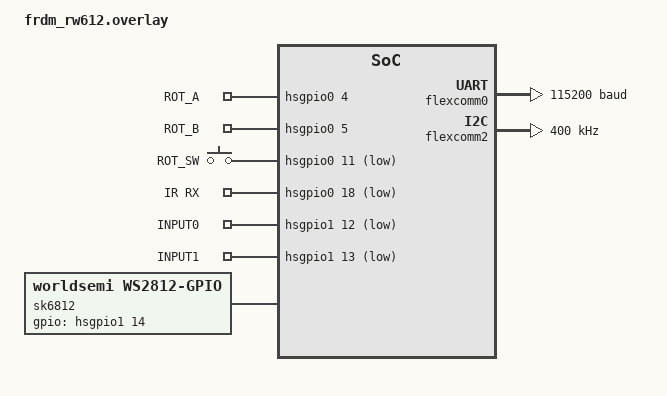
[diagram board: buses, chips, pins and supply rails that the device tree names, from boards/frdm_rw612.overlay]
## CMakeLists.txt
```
# Copyright 2026 zCube
# SPDX-License-Identifier: Apache-2.0
#
# Zephyr application build for frdm_rw612_blank.

cmake_minimum_required(VERSION 3.20.0)

find_package(Zephyr REQUIRED HINTS $ENV{ZEPHYR_BASE})
project(frdm_rw612_blank LANGUAGES C ASM)

# CMake on a Windows host injects MinGW import libs (kernel32, user32, ...)
# into CMAKE_*_STANDARD_LIBRARIES, and mbedtls/tf-psa-crypto pulls
# ws2_32 / bcrypt into its PUBLIC link interface for the host PSA RNG
# provider. None of these exist for the arm-zephyr-eabi cross toolchain.
# Strip just those host libs but keep the rest of the link interface intact
# so the cross-build still pulls in libtfpsacrypto.a / libmbedtls.a.
if(CMAKE_HOST_WIN32)
    set(CMAKE_C_STANDARD_LIBRARIES   "" CACHE STRING "" FORCE)
    set(CMAKE_CXX_STANDARD_LIBRARIES "" CACHE STRING "" FORCE)
    set(_host_only_libs
        ws2_32 bcrypt kernel32 user32 gdi32 winspool
        shell32 ole32 oleaut32 uuid comdlg32 advapi32)
    foreach(_t IN ITEMS tfpsacrypto mbedtls mbedx509)
        if(TARGET ${_t})
            get_target_property(_libs ${_t} INTERFACE_LINK_LIBRARIES)
            if(_libs)
                list(REMOVE_ITEM _libs ${_host_only_libs})
                set_target_properties(${_t}
                    PROPERTIES INTERFACE_LINK_LIBRARIES "${_libs}")
            endif()
        endif()
    endforeach()
endif()

target_include_directories(app PRIVATE
  app
  app/matter
  app/audio
  app/ble
  app/ble/gatt_servers
  app/ir
  app/leds
  app/nvm
  app/ota
  app/radar
  app/rotary_enc
  app/sensors
  app/tcp
  app/wifi
)

target_sources(app PRIVATE
  src/main.c

  app/app_main_zephyr.c
  app/i2c_bus.c

  app/matter/matter_hub_core.c
  app/matter/matter_prefs.c

  app/audio/audio_player.c
  app/audio/es8388.c

  app/ble/gatt_servers/svc_ctrl.c
  app/ble/gatt_servers/svc_ir.c
  app/ble/gatt_servers/svc_led.c
  app/ble/gatt_servers/svc_matter.c
  app/ble/gatt_servers/svc_prov.c
  app/ble/gatt_servers/svc_status.c

  app/ir/ir_aircon.c
  app/ir/ir_codec_samsung_ac.c
  app/ir/ir_decode.c
  app/ir/ir_rx_nxp_gpio_ctimer.c
  app/ir/ir_tx_zephyr.c

  app/leds/led_strip_zephyr.c
  app/leds/led_task_zephyr.c

  app/nvm/app_nvram.c
  app/nvm/nvs_backend.c

  app/ota/app_ota.c
  app/ota/app_ota_http.c

  app/radar/app_radar_zephyr.c

  app/rotary_enc/rotary_enc.c

  app/sensors/amg8833.c
  app/sensors/amg8833_task.c
  app/sensors/bh1750.c
  app/sensors/bh1750_io_nxp_i2c.c
  app/sensors/lux_task.c
  app/sensors/mlx90640.c
  app/sensors/mlx90640_task.c

  app/tcp/app_tcp_client.c
  app/tcp/app_tcp_server.c

  app/wifi/app_wifi.c
)

# Intentionally excluded:
#   app/ir/ir_tx_nxp_ctimer.c
#   app/leds/sk6812.c
#   app/leds/sk6812_io_nxp_spi.c
#   app/multitask_init.c
#   app/ble/gatt_client/ble_central.c
#   app/ble/zephyr_bt_rand_shim.c

# ── OpenThread RCP host 링크 순서 보정 ──────────────────────────────────────
# Zephyr OT glue(zephyr/modules/openthread/CMakeLists.txt)는 ot_libs 에
# openthread-ftd 를 radio-spinel 보다 *먼저* 나열하고 --start-group 으로 묶지
# 않는다. radio_spinel.cpp 가 참조하는 otThreadErrorToString 은 ftd 아카이브의
# error_api.cpp 에만 있는데, ftd 가 링크 라인 앞쪽이라 그 시점엔 끌려오지 않아
# 뒤의 radio-spinel 에서 undefined reference 가 난다.
#
# 타겟 이름(openthread-ftd)으로 재추가하면 CMake 가 중복 제거(dedup)해 원래
# 위치에 머물러 효과가 없다. 따라서 두 아카이브의 *파일 경로*를 링크 끝에 한
# 번 더, --start-group/--end-group 으로 묶어 주입한다. 이 후행 그룹은 앞쪽에서
# 끌려오지 않은 객체까지 상호참조를 완전히 해소한다.
if(CONFIG_HDLC_RCP_IF AND CONFIG_OPENTHREAD_FTD)
  zephyr_link_libraries(
    -Wl,--start-group
    "$<TARGET_FILE:openthread-ftd>"
    "$<TARGET_FILE:openthread-radio-spinel>"
    -Wl,--end-group)
endif()
```

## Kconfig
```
# Copyright 2026 zCube
# SPDX-License-Identifier: Apache-2.0

mainmenu "zCube FRDM-RW612 Application"

config APP_LED_APA102
	bool "Use APA102 LED strip instead of SK6812"
	default n
	help
	  Select APA102 (GPIO47=DATA, GPIO48=CLK) instead of the default
	  SK6812 RGBW (GPIO46=DATA single-wire NRZ).

config APP_SENSORS_ENABLE
	bool "Enable I2C sensors (BH1750 + thermal array)"
	default n
	help
	  BH1750 조도 센서(0x23)와 열화상 센서(AMG8833 0x69 또는 MLX90640 0x33)를
	  활성화한다. 열화상 센서는 아래 'Thermal array sensor'에서 택1.
	  FC2 I2C 버스(GPIO16=SDA, GPIO17=SCL)에 물리적으로 연결된 경우에만 y로 설정.
	  미연결 상태에서 활성화해도 각 태스크가 probe 실패 시 스스로 정지한다.

choice
	prompt "Thermal array sensor"
	depends on APP_SENSORS_ENABLE
	default APP_THERMAL_AMG8833
	help
	  FC2 I2C 버스에 연결된 열화상 센서를 택1. 둘은 버스를 공유하므로
	  동시 사용은 하지 않고 선택된 하나만 태스크를 시작한다.

config APP_THERMAL_AMG8833
	bool "AMG8833 (8x8, addr 0x69)"
	help
	  Panasonic AMG8833 Grid-EYE 8x8 열화상 (0x69).

config APP_THERMAL_MLX90640
	bool "MLX90640 (32x24, addr 0x33)"
	help
	  Melexis MLX90640 32x24 열화상 (0x33). 보정 연산으로 픽셀별 °C 산출.

config APP_THERMAL_NONE
	bool "None (BH1750 only)"
	help
	  열화상 센서를 시작하지 않고 BH1750 조도 센서만 사용한다.

endchoice

config APP_MATTER_THREAD_AUTOSTART
	bool "Auto-start Thread (openthread_run) in matter_hub_init"
	depends on NET_L2_OPENTHREAD
	default y
	help
	  matter_hub_init() 에서 openthread_run() 을 호출해 Thread 네트워크를
	  기동(form/join)한다. n 으로 두면 OpenThread 인스턴스/RCP 는 SYS_INIT 에서
	  초기화되지만(15.4 라디오는 idle) 네트워크는 올라오지 않는다.
	  WiFi/15.4 coexistence 격리 진단용: n 으로 빌드해 WiFi 연결이 회복되면
	  15.4 활성 트래픽이 원인임을 확인할 수 있다.

config APP_AUDIO_ES8388
	bool "Enable ES8388 audio codec (I2C volume/mute control)"
	default n
	help
	  ES8388 오디오 코덱을 FC2 I2C(GPIO16=SDA, GPIO17=SCL, addr=0x10)로 초기화한다.
	  볼륨·뮤트 제어만 수행하며, 오디오 재생은 ESP32-A1S가 담당한다.
	  미연결 상태에서 활성화 시 I2C 초기화 실패(ENODEV)가 발생할 수 있다.

source "Kconfig.zephyr"
```

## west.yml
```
manifest:
  remotes:
    - name: zephyrproject-rtos
      url-base: https://github.com/zephyrproject-rtos

  projects:
    - name: zephyr
      remote: zephyrproject-rtos
      revision: main
      import:
        name-allowlist:
          - cmsis
          - cmsis_6
          - hal_nxp
          - mbedtls
          - tf-psa-crypto
          - libsbc
          - mcuboot
          # Matter hub용 Thread: OpenThread 라이브러리 소스.
          # 추가 후 반드시 `west update` 로 modules/lib/openthread 를 fetch.
          - openthread
```

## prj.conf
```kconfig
CONFIG_BT=y
CONFIG_BT_PERIPHERAL=y
CONFIG_ENTROPY_GENERATOR=y
CONFIG_BT_DEVICE_NAME="zCubeTarget"

# CSPRNG: use hardware TRNG directly so the PSA crypto provider
# (random_psa.c -> psa/crypto.h, plus host-only -lws2_32/-lbcrypt deps from
# tf-psa-crypto) is not pulled into the cross build.
CONFIG_HARDWARE_DEVICE_CS_GENERATOR=y


# CONFIG_BUILD_ONLY_NO_BLOBS was removed: it caused rw61x_cpu2_fw.bin.inc to be 0 bytes,
# preventing BLE radio initialization entirely.
CONFIG_BT_SHELL=n

# Radar UART: DMA async (FC0, DMA0 채널 0/1)
CONFIG_UART_ASYNC_API=y
CONFIG_DMA=y

# NVS (Non-Volatile Storage) — replaces NXP mflash file API
CONFIG_FLASH_MAP=y
CONFIG_NVS=y
# Auto-erase NVS partition if flash contains non-NVS data (e.g. factory firmware)
CONFIG_NVS_INIT_BAD_MEMORY_REGION=y

# I2C for sensors (BH1750, AMG8833)
CONFIG_I2C=y

# Networking (Zephyr native sockets)
CONFIG_NETWORKING=y
CONFIG_NET_SOCKETS=y
CONFIG_NET_TCP=y
CONFIG_NET_IPV4=y
CONFIG_NET_DHCPV4=y

# WiFi support — RW612 NXP driver
CONFIG_WIFI=y
CONFIG_WIFI_NXP=y
CONFIG_NXP_RW610=y
CONFIG_ETH_DRIVER=n

# NXP WiFi + BT Classic A2DP 버퍼/펌웨어 로딩에 큰 힙이 필요
CONFIG_HEAP_MEM_POOL_SIZE=204800

# WiFi mgmt 이벤트 큐/스택 (부족하면 CONNECT_RESULT 이벤트 유실)
CONFIG_NET_MGMT_EVENT_QUEUE_SIZE=16
CONFIG_NET_MGMT_EVENT_QUEUE_TIMEOUT=5000
CONFIG_NET_MGMT_EVENT_STACK_SIZE=4608

# 네트워크 버퍼
# OTA 다운로드 막판 정지 원인: TCP 수신 윈도우 자동산출값이 너무 작음.
#   auto = (NET_BUF_RX_COUNT * NET_BUF_DATA_SIZE) / 3 = (20*128)/3 ≈ 853 B
# 853 B는 WiFi MSS(~1460 B)보다 작아 Silly Window Syndrome / flow-control 정지를
# 유발. 윈도우를 8 KB로 고정하고 RX 버퍼를 늘려 느린 flash 소비 중에도 세그먼트를
# 흡수하도록 한다.
# 버퍼 한 개를 256 B로 키워(기본 128) 윈도우를 채우는 데 필요한 net_buf 개수를 줄인다.
# OTA 막판 99% 정지의 핵심: 서버(파이썬 HTTP/1.0)가 응답 끝에서 마지막 ~8 KB를 한 번에
# 보내며 close하는데, 수신 윈도우(8192)가 그 버스트로 정확히 0까지 차면 window-update가
# 안 나가 tail zero-window 교착 → recv 영구 블록. 윈도우를 16 KB로 올려 마지막 버스트가
# 와도 0에 닿지 않게 하고, 버퍼는 윈도우(64개분)의 2배(128)로 여유를 둔다.
CONFIG_NET_BUF_DATA_SIZE=256
CONFIG_NET_PKT_RX_COUNT=32
CONFIG_NET_PKT_TX_COUNT=10
CONFIG_NET_BUF_RX_COUNT=128
CONFIG_NET_BUF_TX_COUNT=20
CONFIG_NET_MAX_CONTEXTS=10
CONFIG_NET_TCP_MAX_RECV_WINDOW_SIZE=16384

# ── Matter hub용 Thread (OpenThread RCP host) ──────────────────────────────
# RW612 온칩 802.15.4 라디오는 NBU(companion controller)에서 RCP 펌웨어로 동작하고,
# M33 호스트가 내부 HDLC 인터페이스로 OpenThread 풀스택을 구동한다. DT 매핑은 SoC
# dtsi에 이미 존재(chosen zephyr,hdlc-rcp-if = &hdlc_rcp_if). BT/WiFi가 이미 켜져
# 있어 monolithic NBU 콤보 펌웨어(BLE+WiFi+15.4)·IMU·FW_LOADER 경로는 이미 활성.
# 선행: west.yml에 openthread 추가 + `west update` (modules/lib/openthread fetch).
CONFIG_NET_L2_OPENTHREAD=y
CONFIG_OPENTHREAD_SOURCES=y
# 허브/라우터 역할(리더·라우터 승격 가능) → Full Thread Device
CONFIG_OPENTHREAD_FTD=y
# 내부 HDLC RCP 호스트 인터페이스 + NBU RF/펌웨어 로더
CONFIG_HDLC_RCP_IF=y
CONFIG_NXP_RF_IMU=y
CONFIG_NXP_FW_LOADER=y
# WiFi 부팅을 방해하지 않도록 자동 기동 끄고, matter_hub_init()에서 openthread_run()으로 직접 기동
CONFIG_OPENTHREAD_MANUAL_START=y
CONFIG_OPENTHREAD_RCP_RESTORATION_MAX_COUNT=10
# radio_spinel.cpp / hdlc_interface.cpp 는 C++
CONFIG_CPP=y
# OpenThread 데이터셋 영속화(이미 NVS 사용 중)
CONFIG_SETTINGS=y
# OpenThread 크립토용 PSA RNG (frdm_rw612 OT 레퍼런스 동일)
CONFIG_MBEDTLS_PSA_CRYPTO_LEGACY_RNG=y
# mbedtls 정적 버퍼 할당기 힙. OT_CRYPTO_PSA 기본값 1024는 런타임에 부족해
# psa_cipher_encrypt(AES-ECB)가 PSA_ERROR_INSUFFICIENT_MEMORY(-141)로 실패하며
# aes_ecb.cpp 에서 ASSERT(멈춤)가 났다(검증됨). OT MAC AES-CCM + 동시 할당
# 여유를 위해 8 KB로 상향(정적 BSS, RAM 여유 충분).
CONFIG_MBEDTLS_HEAP_SIZE=8192

# OT 스레드 스택. 기본 3072는 mbedtls *소프트웨어* AES-CCM/PSA crypto 호출
# 깊이에 부족 → 스택 오버플로로 인접 메모리 파손, 시스템 전체 정지(검증됨:
# AES-ECB 통과 후 BH1750 단계에서 완전 멈춤). 8 KB로 상향.
CONFIG_OPENTHREAD_THREAD_STACK_SIZE=8192
# spinel 라디오 RX 워크큐 스택. 기본 512는 프레임 처리/콜백에 빠듯 → 2 KB.
CONFIG_OPENTHREAD_RADIO_WORKQUEUE_STACK_SIZE=2048

# Build output formats
CONFIG_BUILD_OUTPUT_HEX=y
CONFIG_BUILD_OUTPUT_BIN=y

# OTA secondary-slot write buffer
CONFIG_IMG_BLOCK_BUF_SIZE=1024
CONFIG_STREAM_FLASH=y

# MCUboot 연동: 앱을 slot0(image-0) 서명 이미지로 빌드하고, OTA commit 시
# boot_request_upgrade()로 slot1(image-1)을 다음 부팅에 swap 요청한다.
# 필수 선행: west.yml에 mcuboot 추가 + `west update`(모듈 fetch) + 0x0에 부트로더 플래시.
# 이 설정을 켜면 앱은 slot0(0x20000)용으로 빌드되어 0x0 부트로더 없이는 단독 부팅 불가.
CONFIG_BOOTLOADER_MCUBOOT=y
CONFIG_IMG_MANAGER=y
# 앱 이미지를 부트로더와 동일한 기본 키(root-rsa-2048.pem)로 서명한다.
# 이게 있어야 빌드가 zephyr.signed.{hex,bin}을 생성하고, MCUboot가 slot0/slot1을 검증·부팅한다.
CONFIG_MCUBOOT_SIGNATURE_KEY_FILE="C:/work/New_zCube/rw612_zephyr/bootloader/mcuboot/root-rsa-2048.pem"


# IR TX: SCTimer PWM 캐리어 (38 kHz, SCT_OUT5 = GPIO27)
CONFIG_PWM=y

# SK6812 RGBW LED strip (ws2812-gpio single-wire bit-bang on GPIO46)
CONFIG_LED_STRIP=y
# APA102 선택 시 주석 해제 → GPIO47(DATA), GPIO48(CLK) 로 전환
# CONFIG_APP_LED_APA102=y

# Logging Configuration
CONFIG_LOG=y
CONFIG_LOG_BACKEND_SHOW_COLOR=n
# OTA가 실행 중인 FlexSPI flash(slot1)에 기록할 때, deferred 로깅 경로에서는
# 시스템 전체가 hang(radar/IR 포함 전부 정지)한다. immediate(동기) 로그로 전환하면
# OTA가 100% 완주한다(검증됨). 따라서 deferred 전용 옵션은 비활성.
# CONFIG_LOG_BUFFER_SIZE=8192
# CONFIG_LOG_PROCESS_THREAD_SLEEP_MS=10
CONFIG_LOG_MODE_IMMEDIATE=y
CONFIG_LOG_PRINTK=n
CONFIG_REBOOT=y
CONFIG_EXCEPTION_DEBUG=y
CONFIG_EXTRA_EXCEPTION_INFO=y
CONFIG_ASSERT=y

# Multitasking Configuration
CONFIG_MULTITHREADING=y
CONFIG_TIMESLICING=y
CONFIG_TIMESLICE_SIZE=10

# Stack sizes — debug 빌드는 -O0/-Og 로 인해 release 대비 2~3× 더 필요
# 0xDEAD (스택 오버플로우) 방지를 위해 증가
CONFIG_MAIN_STACK_SIZE=16384
CONFIG_IDLE_STACK_SIZE=2048
CONFIG_NET_TX_STACK_SIZE=8192
CONFIG_NET_RX_STACK_SIZE=8192
CONFIG_NET_TCP_WORKQ_STACK_SIZE=8192
CONFIG_SYSTEM_WORKQUEUE_STACK_SIZE=32768
CONFIG_BT_RX_STACK_SIZE=32768


# Audio: ES8388 I2C 볼륨/뮤트 제어 전용 (I2S 미사용 — 오디오 재생은 ESP32-A1S 담당)
# A2DP 불가: Zephyr hal_nxp에 BT Classic 펌웨어 블롭 없음 (BLE 전용만 제공)
CONFIG_BT_MAX_CONN=4
CONFIG_BT_LONG_WQ_STACK_SIZE=8192

# I2C 센서 활성화: BH1750 + 열화상 센서 물리 연결 후 y로 변경
CONFIG_APP_SENSORS_ENABLE=y
# 열화상 센서 택1 (둘 중 하나만):
# CONFIG_APP_THERMAL_AMG8833=y
CONFIG_APP_THERMAL_MLX90640=y
# CONFIG_APP_THERMAL_NONE=y

# I2C 전송 타임아웃 (ms). 기본값 0 = 무한 대기 → 하드웨어 없을 때 영구 hang.
# 100 ms = 400 kHz I2C 정상 전송보다 충분히 크고, hang 대기보다 훨씬 짧음.
CONFIG_I2C_NXP_TRANSFER_TIMEOUT=100

# ES8388 오디오 코덱 활성화: FC2 I2C(GPIO16/17, addr=0x10) 물리 연결 후 y로 변경
# CONFIG_APP_AUDIO_ES8388=y

# Thread Options
CONFIG_THREAD_NAME=y
CONFIG_THREAD_STACK_INFO=y
CONFIG_THREAD_MONITOR=y
CONFIG_INIT_STACKS=y
```

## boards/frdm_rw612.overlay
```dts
/*
 * Copyright 2026 zCube
 * SPDX-License-Identifier: BSD-3-Clause
 *
 * zCube FRDM-RW612 pin assignments:
 *
 *  GPIO2  (HSGPIO0[2])  FC0 USART TX  → Radar UART
 *  GPIO3  (HSGPIO0[3])  FC0 USART RX  → Radar UART
 *  GPIO4  (HSGPIO0[4])  GPIO INPUT    → EC16 ROT_A (쿼드러처 A상)
 *  GPIO5  (HSGPIO0[5])  GPIO INPUT    → EC16 ROT_B (쿼드러처 B상)
 *  GPIO11 (HSGPIO0[11]) GPIO INPUT    → EC16 ROT_SW (push-button, pull-up, falling edge)
 *  GPIO16 (HSGPIO0[16]) FC2 I2C SDA   → BH1750, AMG8833, ES8388(볼륨)
 *  GPIO17 (HSGPIO0[17]) FC2 I2C SCL   → BH1750, AMG8833, ES8388
 *  GPIO18 (HSGPIO0[18]) GPIO INPUT    → IR 수신 (demod output, active-low)
 *  GPIO27 (HSGPIO0[27]) SCT_OUT5      → IR 송신 캐리어 38 kHz
 *  GPIO44 (HSGPIO1[12]) GPIO INPUT    → INPUT0 (pull-up, falling edge IRQ)
 *  GPIO45 (HSGPIO1[13]) GPIO INPUT    → INPUT1 (pull-up, falling edge IRQ)
 *  GPIO46 (HSGPIO1[14]) GPIO OUTPUT   → SK6812 DATA (단선 NRZ, 기본)
 *  GPIO47 (HSGPIO1[15]) GPIO OUTPUT   → APA102 DATA (CONFIG_APP_LED_APA102)
 *  GPIO48 (HSGPIO1[16]) GPIO OUTPUT   → APA102 CLK  (CONFIG_APP_LED_APA102)
 *
 * GPIO44-49: LCDIC 비활성화 → GPIO로 재사용
 *   44=INPUT0, 45=INPUT1, 46=SK6812 DATA, 47=APA102 DATA, 48=APA102 CLK
 */

#include <zephyr/dt-bindings/led/led.h>

&pinctrl {
	/* Radar UART: FC0 GPIO2(TX) / GPIO3(RX) */
	pinmux_fc0_radar: pinmux_fc0_radar {
		group0 {
			pinmux = <IO_MUX_FC0_USART_DATA>;
			slew-rate = "normal";
		};
	};

	/* IR TX: GPIO27 → SCT_OUT5 (38 kHz 캐리어)
	 * GPIO26(SCT_OUT4)은 FC3 USART(콘솔)와 충돌 → GPIO27(SCT_OUT5) 사용 */
	pinmux_ir_tx: pinmux_ir_tx {
		group0 {
			pinmux = <IO_MUX_SCT_OUT_5>;
			slew-rate = "fast";
		};
	};

	/* GPIO46 (HSGPIO1[14]) → SK6812 단선 데이터 출력 */
	pinmux_hsgpio1: pinmux_hsgpio1 {
		group1 {
			pinmux = <IO_MUX_GPIO46>;
			slew-rate = "fast";
		};
	};

};

/* LCDIC 비활성화: GPIO44-49를 LCD SPI 모드에서 해제 */
&lcdic {
	status = "disabled";
};

/* Radar UART: FC0 — DMA async (채널 0=RX, 1=TX) */
&flexcomm0 {
	compatible = "nxp,lpc-usart";
	status = "okay";
	current-speed = <115200>;
	pinctrl-0 = <&pinmux_fc0_radar>;
	pinctrl-names = "default";
	dmas = <&dma0 0>, <&dma0 1>;
	dma-names = "rx", "tx";
};

/* FC1 I2S 제거 — 오디오 재생은 ESP32-A1S 담당, RW612는 ES8388 I2C 제어만 수행 */

/* Sensor & Audio Codec I2C: FC2 — GPIO16(SDA), GPIO17(SCL)
 * 연결 디바이스: BH1750(0x23), AMG8833(0x69), ES8388(0x10) */
&flexcomm2 {
	compatible = "nxp,lpc-i2c";
	status = "okay";
	clock-frequency = <400000>;  /* Fast Mode 400 kHz */
	pinctrl-0 = <&pinmux_flexcomm2_i2c>;
	pinctrl-names = "default";
	#address-cells = <1>;
	#size-cells = <0>;
	/* I2C IRQ 우선순위 0(최고)→3. RW612 무선 코프로세서가 상위 우선순위를
	 * 쓰므로, I2C 완료 ISR이 라디오 임계구간을 선점하지 않도록 방어적으로 낮춘다.
	 * (IRQ 16 = FlexComm2. 멈춤의 직접 원인은 아니었지만 상시 유지 권장) */
	interrupts = <16 3>;
};

/* GPIO 핀 인터럽트(PINT) 우선순위 상향: 2 → 1.
 * A/B 로터리 엣지와 IR RX(TSDP341, GPIO18) 엣지 캡처가 WiFi/BLE ISR 지연으로
 * 타이밍이 흔들려 Samsung AC 프레임이 깨지는 것을 줄인다. ISR 자체가 매우
 * 짧아(타임스탬프 1회) 무선에 주는 영향은 작다. 0(최고)은 무선과 충돌 위험이라
 * 한 단계만 올림. (IRQ 4-7,35-38 = PINT 8 라인) */
&pint {
	interrupts = <4 1>, <5 1>, <6 1>, <7 1>,
		     <35 1>, <36 1>, <37 1>, <38 1>;
};

/* SCTimer: IR TX 캐리어용 SCT_OUT5(GPIO27) 사용
 * (GPIO26=SCT_OUT4는 FC3 UART TX와 충돌) */
&sctimer {
	pinctrl-0 = <&pinmux_ir_tx>;
};

/ {
	aliases {
		ir-rx      = &ir_rx_pin;
		led-strip  = &sk6812;
		radar-uart = &flexcomm0;
		rot-a      = &rot_enc_a;
		rot-b      = &rot_enc_b;
		rot-sw     = &rot_enc_sw;
		input-0    = &gpio_input0;
		input-1    = &gpio_input1;
	};

	/* EC16 로터리 인코더: GPIO4=ROT_A, GPIO5=ROT_B, GPIO11=ROT_SW
	 * 내부 풀업 사용; A/B ANY_EDGE, SW falling edge 인터럽트 */
	rot_enc_dev: rotary-enc {
		compatible = "gpio-keys";
		rot_enc_a: rot_enc_a {
			gpios = <&hsgpio0 4 (GPIO_ACTIVE_HIGH | GPIO_PULL_UP)>;
			label = "ROT_A";
		};
		rot_enc_b: rot_enc_b {
			gpios = <&hsgpio0 5 (GPIO_ACTIVE_HIGH | GPIO_PULL_UP)>;
			label = "ROT_B";
		};
		rot_enc_sw: rot_enc_sw {
			gpios = <&hsgpio0 11 (GPIO_ACTIVE_LOW | GPIO_PULL_UP)>;
			label = "ROT_SW";
		};
	};

	/* IR 수신: GPIO18 = HSGPIO0[18]
	 * 일반 IR 수신 모듈 출력은 active-low (신호 수신 시 LOW) */
	ir_rx_dev: ir-rx {
		compatible = "gpio-keys";
		ir_rx_pin: ir_rx_pin {
			gpios = <&hsgpio0 18 (GPIO_ACTIVE_LOW | GPIO_PULL_UP)>;
			label = "IR RX";
		};
	};

	/* 범용 GPIO 입력 2채널: GPIO44/GPIO45 (HSGPIO1[12], HSGPIO1[13])
	 * 내부 풀업 — 평상시 HIGH, 신호 인가 시 LOW (falling edge 트리거)
	 * 인터럽트 트리거: GPIO_INT_EDGE_FALLING (애플리케이션에서 설정)
	 * LCDIC 비활성화 구간 재사용 */
	gpio_inputs: gpio-inputs {
		compatible = "gpio-keys";
		gpio_input0: gpio_input0 {
			gpios = <&hsgpio1 12 (GPIO_ACTIVE_LOW | GPIO_PULL_UP)>;
			label = "INPUT0";
		};
		gpio_input1: gpio_input1 {
			gpios = <&hsgpio1 13 (GPIO_ACTIVE_LOW | GPIO_PULL_UP)>;
			label = "INPUT1";
		};
	};

	/* SK6812 RGBW LED strip: GPIO46 = HSGPIO1[14]
	 * ws2812-gpio: 단선 NRZ 비트뱅 드라이버 (CLK 핀 불필요)
	 * chain-length: 실제 연결된 LED 수로 수정할 것 */
	sk6812: ws2812 {
		compatible = "worldsemi,ws2812-gpio";
		gpios = <&hsgpio1 14 GPIO_ACTIVE_HIGH>;
		chain-length = <8>;
		color-mapping = <LED_COLOR_ID_GREEN
				 LED_COLOR_ID_RED
				 LED_COLOR_ID_BLUE
				 LED_COLOR_ID_WHITE>;
	};
};
```

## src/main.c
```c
/*
 * Copyright (c) 2016 Intel Corporation
 *
 * SPDX-License-Identifier: Apache-2.0
 */

#include <zephyr/kernel.h>

#include "app_main.h"

K_THREAD_DEFINE(app_main_tid,
		APP_MAIN_STACK_SIZE,
		(k_thread_entry_t)app_main_task,
		NULL,
		NULL,
		NULL,
		APP_MAIN_PRIORITY,
		0,
		0);


int main(void)
{
	return 0;
}
```
